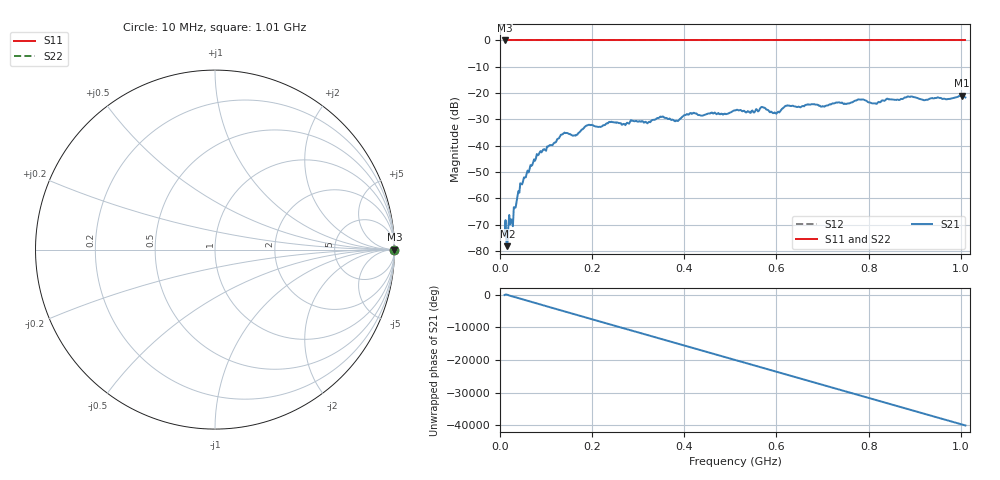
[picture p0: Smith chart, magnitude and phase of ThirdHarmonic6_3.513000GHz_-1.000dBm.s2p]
! 8/17/2025 11:30:17 AM
! C:\ANRITSUVNA\TEMP\TEMP.S2P
! CHANNEL.1
! TR.MEASUREMENT
! RAW.DATA
! RF.CORRECTION.OFF
! AVERAGING.OFF
! IF.BANDWIDTH: 5KHZ
! SWEEPTYPE:  FREQ.SWEEP(Linear)
! Reference Plane Port Info
! PORT:  PORT1  PORT2
! DISTANCE:  0  m  0  m
! TIME:  0  s  0  s
! PHASE.OFFSET:  0  deg.  0  deg.
! LOSS:  0  dB  0  dB
! REF.LOSS:  0  dB  0  dB
! REF.FREQ:  0  Hz  0  Hz
! Power Info
! POWER:  -20  dBm  -20  dBm
! EFF.POWER:  -20  dBm  -20  dBm
! SOURCE.ATTEN:  0  dB  0  dB
! TEST.ATTEN:  0  dB  0  dB
# GHZ S RI R 50.0
! FREQ.GHZ  S11RE  S11IM  S21RE  S21IM  S12RE  S12IM  S22RE  S22IM
!; PortSelection: Port_12
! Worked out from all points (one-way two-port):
!   501 points, 10 MHz to 1.01 GHz, reference 50 ohm
!   highest |S21| = -20.95 dB at 1.002 GHz (marker M1); lowest = -78.2 dB at 16 MHz (marker M2)
!   lowest |S11| = 0.0 dB at 10 MHz (marker M3)
!   |S11| at or under -10 dB: nowhere
!   |S22| runs from 0.0 to 0.0 dB; largest |S21 - S12| = 1.1
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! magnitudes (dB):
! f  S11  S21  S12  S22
! 10 MHz  0.0  -74.2  0.0  0.0
! 16 MHz  0.0  -78.2  0.0  0.0
! 30 MHz  0.0  -63.4  0.0  0.0
! 48 MHz  0.0  -54.7  0.0  0.0
! 84 MHz  0.0  -43.4  0.0  0.0
! 136 MHz  0.0  -35.6  0.0  0.0
! 164 MHz  0.0  -36.2  0.0  0.0
! 178 MHz  0.0  -33.8  0.0  0.0
! 192 MHz  0.0  -32.1  0.0  0.0
! 322 MHz  0.0  -31.1  0.0  0.0
! 344 MHz  0.0  -29.5  0.0  0.0
! 382 MHz  0.0  -30.5  0.0  0.0
! 416 MHz  0.0  -27.9  0.0  0.0
! 510 MHz  0.0  -26.6  0.0  0.0
! 570 MHz  0.0  -25.3  0.0  0.0
! 596 MHz  0.0  -27.3  0.0  0.0
! 622 MHz  0.0  -24.8  0.0  0.0
! 678 MHz  0.0  -24.2  0.0  0.0
! 814 MHz  0.0  -23.9  0.0  0.0
! 844 MHz  0.0  -22.4  0.0  0.0
! 1.002 GHz  0.0  -21.0  0.0  0.0
! 1.01 GHz  0.0  -21.7  0.0  0.0
